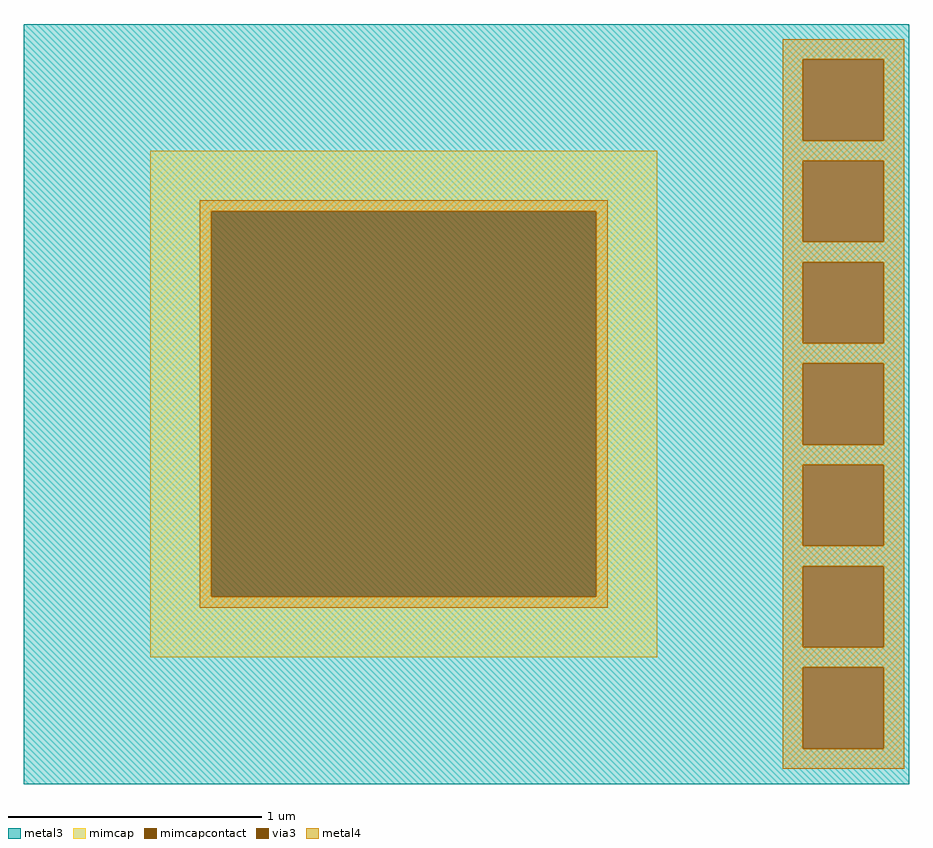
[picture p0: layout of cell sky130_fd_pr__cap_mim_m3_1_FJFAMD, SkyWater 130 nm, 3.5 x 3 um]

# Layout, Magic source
magic
tech sky130A
magscale 1 2
<< metal3 >>
rect -350 272 349 300
rect -350 208 265 272
rect 329 208 349 272
rect -350 192 349 208
rect -350 128 265 192
rect 329 128 349 192
rect -350 112 349 128
rect -350 48 265 112
rect 329 48 349 112
rect -350 32 349 48
rect -350 -32 265 32
rect 329 -32 349 32
rect -350 -48 349 -32
rect -350 -112 265 -48
rect 329 -112 349 -48
rect -350 -128 349 -112
rect -350 -192 265 -128
rect 329 -192 349 -128
rect -350 -208 349 -192
rect -350 -272 265 -208
rect 329 -272 349 -208
rect -350 -300 349 -272
<< via3 >>
rect 265 208 329 272
rect 265 128 329 192
rect 265 48 329 112
rect 265 -32 329 32
rect 265 -112 329 -48
rect 265 -192 329 -128
rect 265 -272 329 -208
<< mimcap >>
rect -250 152 150 200
rect -250 -152 -202 152
rect 102 -152 150 152
rect -250 -200 150 -152
<< mimcapcontact >>
rect -202 -152 102 152
<< metal4 >>
rect 249 272 345 288
rect 249 208 265 272
rect 329 208 345 272
rect 249 192 345 208
rect -211 152 111 161
rect -211 -152 -202 152
rect 102 -152 111 152
rect -211 -161 111 -152
rect 249 128 265 192
rect 329 128 345 192
rect 249 112 345 128
rect 249 48 265 112
rect 329 48 345 112
rect 249 32 345 48
rect 249 -32 265 32
rect 329 -32 345 32
rect 249 -48 345 -32
rect 249 -112 265 -48
rect 329 -112 345 -48
rect 249 -128 345 -112
rect 249 -192 265 -128
rect 329 -192 345 -128
rect 249 -208 345 -192
rect 249 -272 265 -208
rect 329 -272 345 -208
rect 249 -288 345 -272
<< properties >>
string FIXED_BBOX -350 -300 250 300
<< end >>
